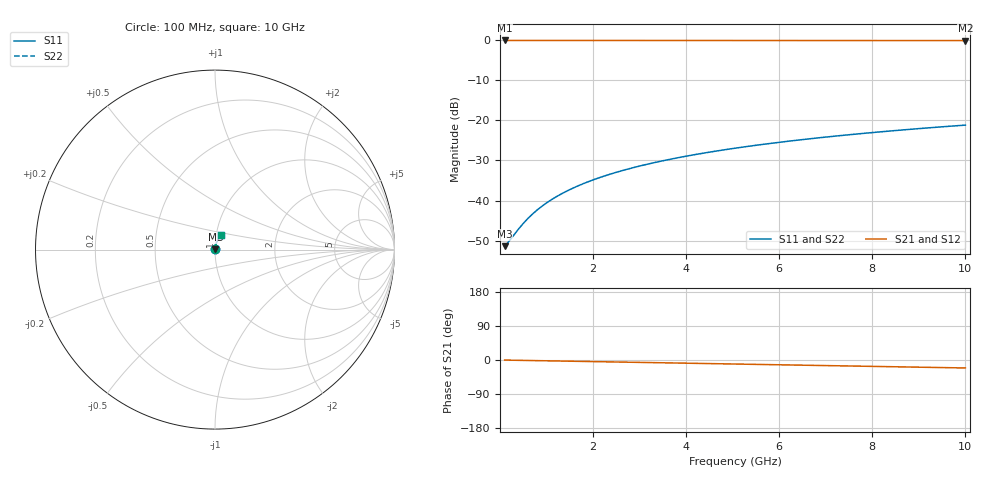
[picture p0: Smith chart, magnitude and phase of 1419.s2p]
# Hz S RI R 50.00
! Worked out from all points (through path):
!   100 points, 100 MHz to 10 GHz, reference 50 ohm
!   highest |S21| = -0.02 dB at 100 MHz (marker M1); lowest = -0.1 dB at 10 GHz (marker M2)
!   group delay of S21, straight-line fit = 5.85 ps
!   lowest |S11| = -51.4 dB at 100 MHz (marker M3), VSWR 1.01, Z = 50.3 + j0.0891 ohm
!   |S11| at or under -10 dB: start of sweep to end of sweep
!   |S22| runs from -51.4 to -21.2 dB; largest |S21 - S12| = 0
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1e8  0.00254 0.000886  0.9975 -0.00366  0.9975 -0.00366  0.00254 0.000886
2e8  0.00257 0.00177  0.9974 -0.00732  0.9974 -0.00732  0.00257 0.00177
4e8  0.00263 0.00354  0.9973 -0.0146  0.9973 -0.0146  0.00263 0.00354
5e8  0.00266 0.00443  0.9972 -0.0183  0.9972 -0.0183  0.00266 0.00443
6e8  0.0027 0.00532  0.9971 -0.022  0.9971 -0.022  0.0027 0.00532
7e8  0.00275 0.0062  0.997 -0.0256  0.997 -0.0256  0.00275 0.0062
8e8  0.00281 0.00708  0.9969 -0.0293  0.9969 -0.0293  0.00281 0.00708
1e9  0.00293 0.00885  0.9967 -0.0366  0.9967 -0.0366  0.00293 0.00885
1.2e9  0.00308 0.0106  0.9963 -0.0439  0.9963 -0.0439  0.00308 0.0106
1.5e9  0.00336 0.0133  0.9957 -0.0549  0.9957 -0.0549  0.00336 0.0133
1.8e9  0.00369 0.0159  0.995 -0.0658  0.995 -0.0658  0.00369 0.0159
2.1e9  0.00408 0.0185  0.9942 -0.0768  0.9942 -0.0768  0.00408 0.0185
2.5e9  0.00468 0.022  0.9928 -0.0914  0.9928 -0.0914  0.00468 0.022
2.9e9  0.00539 0.0255  0.9913 -0.1059  0.9913 -0.1059  0.00539 0.0255
3.4e9  0.00642 0.0298  0.989 -0.1241  0.989 -0.1241  0.00642 0.0298
4.2e9  0.00839 0.0366  0.9847 -0.1531  0.9847 -0.1531  0.00839 0.0366
5.1e9  0.0111 0.0441  0.9787 -0.1855  0.9787 -0.1855  0.0111 0.0441
5.9e9  0.0139 0.0506  0.9725 -0.2141  0.9725 -0.2141  0.0139 0.0506
6.7e9  0.017 0.0569  0.9654 -0.2424  0.9654 -0.2424  0.017 0.0569
7.5e9  0.0206 0.063  0.9574 -0.2706  0.9574 -0.2706  0.0206 0.063
8.4e9  0.025 0.0696  0.9474 -0.3019  0.9474 -0.3019  0.025 0.0696
1e10  0.0339 0.0806  0.9269 -0.3566  0.9269 -0.3566  0.0339 0.0806
